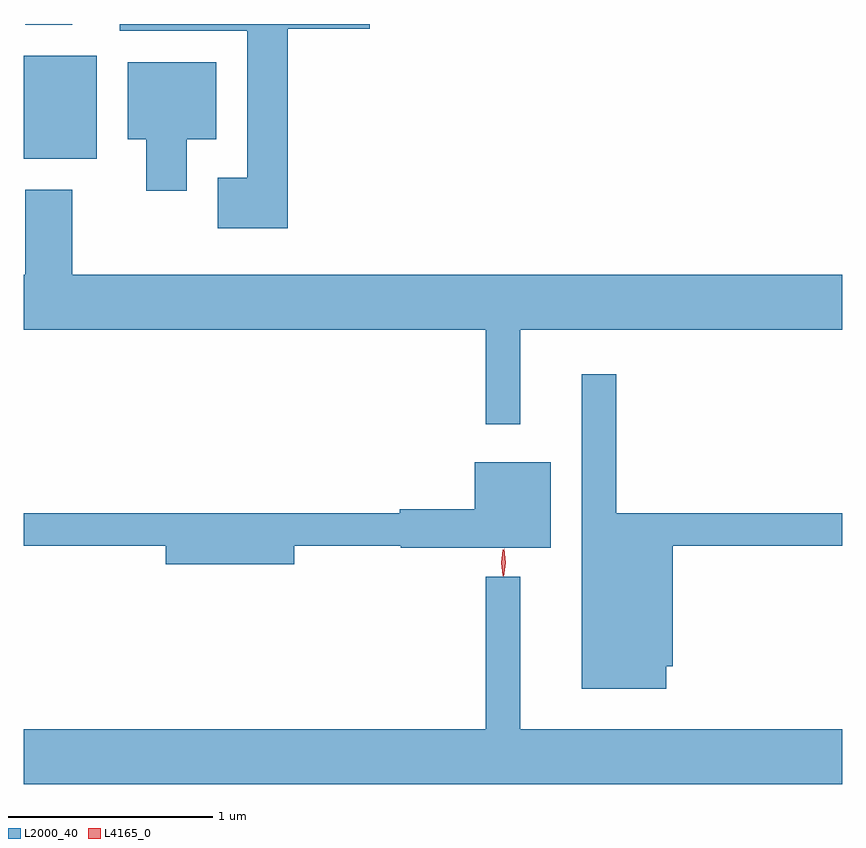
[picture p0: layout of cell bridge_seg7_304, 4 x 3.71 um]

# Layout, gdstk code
import gdstk
lib = gdstk.Library(unit=1e-6, precision=1e-09)
def R(c, l, rs):  # rectangles x0, y0, x1, y1
    for r in rs: c.add(gdstk.rectangle(r[:2], r[2:], *l))
def P(c, l, *ps):  # polygons
    for p in ps: c.add(gdstk.Polygon(p, *l))
L2000_40 = (2000, 40)
L4165_0 = (4165, 0)

bridge_seg7_304 = lib.new_cell('bridge_seg7_304')
R(bridge_seg7_304, L2000_40, [(1422.253,1797.291,1422.609,1797.794), (1422.261,1797.946,1422.489,1797.95)])
P(bridge_seg7_304, L2000_40, [(1423.544,1797.926),(1423.944,1797.926),(1423.944,1797.95),(1422.721,1797.95),(1422.721,1797.916),(1423.346,1797.916),(1423.346,1797.199),(1423.201,1797.199),(1423.201,1796.951),(1423.544,1796.951)],
  [(1423.049,1797.386),(1423.194,1797.386),(1423.194,1797.764),(1422.761,1797.764),(1422.761,1797.386),(1422.851,1797.386),(1422.851,1797.136),(1423.049,1797.136)],
  [(1424.679,1796.456),(1426.253,1796.456),(1426.253,1796.724),(1422.489,1796.724),(1422.489,1797.139),(1422.261,1797.139),(1422.261,1796.724),(1422.253,1796.724),(1422.253,1796.456),(1424.511,1796.456),(1424.511,1795.993),(1424.679,1795.993)],
  [(1425.394,1794.811),(1425.424,1794.811),(1425.424,1795.401),(1426.253,1795.401),(1426.253,1795.559),(1425.149,1795.559),(1425.149,1796.238),(1424.981,1796.238),(1424.981,1794.701),(1425.394,1794.701)],
  [(1423.574,1795.401),(1424.095,1795.401),(1424.095,1795.391),(1424.829,1795.391),(1424.829,1795.809),(1424.456,1795.809),(1424.456,1795.579),(1424.091,1795.579),(1424.091,1795.559),(1422.253,1795.559),(1422.253,1795.401),(1422.946,1795.401),(1422.946,1795.311),(1423.574,1795.311)],
  [(1426.253,1794.504),(1424.679,1794.504),(1424.679,1795.248),(1424.511,1795.248),(1424.511,1794.504),(1422.253,1794.504),(1422.253,1794.236),(1426.253,1794.236)])
P(bridge_seg7_304, L4165_0, [(1424.598,1795.25),(1424.598,1795.25),(1424.59,1795.318),(1424.6,1795.386),(1424.601,1795.386),(1424.601,1795.386),(1424.609,1795.318),(1424.599,1795.25)],
  [(1424.595,1795.253),(1424.586,1795.317),(1424.595,1795.381),(1424.596,1795.381),(1424.596,1795.381),(1424.606,1795.317),(1424.596,1795.253),(1424.596,1795.253)])

lib.write_gds('bridge_seg7_304.gds')
